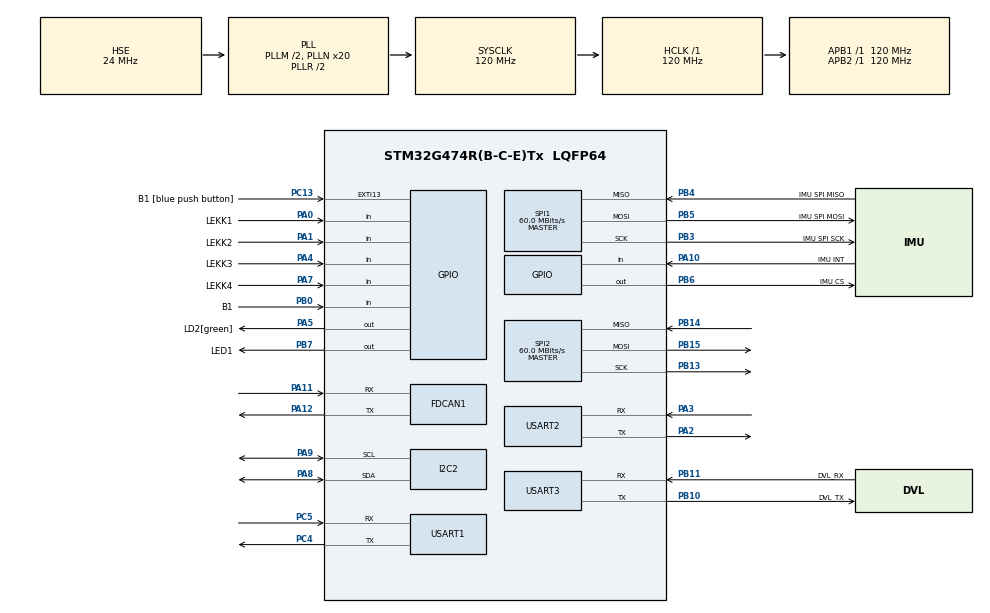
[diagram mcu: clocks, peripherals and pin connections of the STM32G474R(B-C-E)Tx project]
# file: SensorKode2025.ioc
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Dma.Request0=USART2_RX
Dma.USART2_RX.0.Direction=DMA_PERIPH_TO_MEMORY
Dma.USART2_RX.0.EventEnable=DISABLE
Dma.USART2_RX.0.Instance=DMA1_Channel1
Dma.USART2_RX.0.MemDataAlignment=DMA_MDATAALIGN_BYTE
Dma.USART2_RX.0.MemInc=DMA_MINC_ENABLE
Dma.USART2_RX.0.Mode=DMA_NORMAL
Dma.USART2_RX.0.PeriphDataAlignment=DMA_PDATAALIGN_BYTE
Dma.USART2_RX.0.PeriphInc=DMA_PINC_DISABLE
Dma.USART2_RX.0.Polarity=HAL_DMAMUX_REQ_GEN_RISING
Dma.USART2_RX.0.Priority=DMA_PRIORITY_LOW
Dma.USART2_RX.0.RequestNumber=1
Dma.USART2_RX.0.SignalID=NONE
Dma.USART2_RX.0.SyncEnable=DISABLE
Dma.USART2_RX.0.SyncPolarity=HAL_DMAMUX_SYNC_NO_EVENT
Dma.USART2_RX.0.SyncRequestNumber=1
Dma.USART2_RX.0.SyncSignalID=NONE
FDCAN1.CalculateBaudRateNominal=500000
FDCAN1.CalculateTimeBitNominal=2000
FDCAN1.CalculateTimeQuantumNominal=50.0
FDCAN1.NominalPrescaler=2
FDCAN1.NominalTimeSeg1=30
FDCAN1.NominalTimeSeg2=9
I2C2.Timing=0x30A175AB
Mcu.Family=STM32G4
Mcu.Name=STM32G474R(B-C-E)Tx
Mcu.Package=LQFP64
NVIC.DMA1_Channel1_IRQn=true\:0\:0\:false\:false\:true\:false\:true\:true
NVIC.EXTI15_10_IRQn=true\:0\:0\:false\:false\:true\:true\:true\:true
NVIC.FDCAN1_IT0_IRQn=true\:0\:0\:false\:false\:true\:true\:true\:true
NVIC.PriorityGroup=NVIC_PRIORITYGROUP_4
NVIC.USART2_IRQn=true\:0\:0\:false\:false\:true\:true\:true\:true
PA0.GPIO_Label=LEKK1
PA0.Signal=GPIO_Input
PA1.GPIO_Label=LEKK2
PA1.Signal=GPIO_Input
PA10.GPIO_Label=IMU INT
PA10.Signal=GPIO_Input
PA11.Mode=FDCAN_Activate
PA11.Signal=FDCAN1_RX
PA12.Mode=FDCAN_Activate
PA12.Signal=FDCAN1_TX
PA13.GPIO_Label=T_SWDIO
PA13.Mode=Serial_Wire
PA13.Signal=SYS_JTMS-SWDIO
PA14.GPIO_Label=T_SWCLK
PA14.Mode=Serial_Wire
PA14.Signal=SYS_JTCK-SWCLK
PA2.Mode=Asynchronous
PA2.Signal=USART2_TX
PA3.Mode=Asynchronous
PA3.Signal=USART2_RX
PA4.GPIO_Label=LEKK3
PA4.Signal=GPIO_Input
PA5.GPIO_Label=LD2[green]
PA5.Signal=GPIO_Output
PA7.GPIO_Label=LEKK4
PA7.Signal=GPIO_Input
PA8.Mode=I2C
PA8.Signal=I2C2_SDA
PA9.Mode=I2C
PA9.Signal=I2C2_SCL
PB0.GPIO_Label=B1
PB0.Signal=GPIO_Input
PB10.GPIO_Label=DVL_TX
PB10.Mode=Asynchronous
PB10.Signal=USART3_TX
PB11.GPIO_Label=DVL_RX
PB11.Mode=Asynchronous
PB11.Signal=USART3_RX
PB13.Mode=Full_Duplex_Master
PB13.Signal=SPI2_SCK
PB14.Mode=Full_Duplex_Master
PB14.Signal=SPI2_MISO
PB15.Mode=Full_Duplex_Master
PB15.Signal=SPI2_MOSI
PB3.GPIO_Label=IMU SPI SCK
PB3.Mode=Full_Duplex_Master
PB3.Signal=SPI1_SCK
PB4.GPIO_Label=IMU SPI MISO
PB4.Mode=Full_Duplex_Master
PB4.Signal=SPI1_MISO
PB5.GPIO_Label=IMU SPI MOSI
PB5.Mode=Full_Duplex_Master
PB5.Signal=SPI1_MOSI
PB6.GPIO_Label=IMU CS
PB6.Signal=GPIO_Output
PB7.GPIO_Label=LED1
PB7.Signal=GPIO_Output
PC13.GPIO_Label=B1 [blue push button]
PC13.Signal=GPXTI13
PC14-OSC32_IN.GPIO_Label=RCC_OSC32_IN
PC14-OSC32_IN.Mode=LSE-External-Oscillator
PC14-OSC32_IN.Signal=RCC_OSC32_IN
PC15-OSC32_OUT.GPIO_Label=RCC_OSC32_OUT
PC15-OSC32_OUT.Mode=LSE-External-Oscillator
PC15-OSC32_OUT.Signal=RCC_OSC32_OUT
PC4.Mode=Asynchronous
PC4.Signal=USART1_TX
PC5.Mode=Asynchronous
PC5.Signal=USART1_RX
PF0-OSC_IN.GPIO_Label=RCC_OSC_IN
PF0-OSC_IN.Mode=HSE-External-Oscillator
PF0-OSC_IN.Signal=RCC_OSC_IN
PF1-OSC_OUT.GPIO_Label=RCC_OSC_OUT
PF1-OSC_OUT.Mode=HSE-External-Oscillator
PF1-OSC_OUT.Signal=RCC_OSC_OUT
ProjectManager.HeapSize=0x200
ProjectManager.StackSize=0x400
ProjectManager.TargetToolchain=STM32CubeIDE
RCC.ADC12Freq_Value=120000000
RCC.ADC345Freq_Value=120000000
RCC.AHBFreq_Value=120000000
RCC.APB1Freq_Value=120000000
RCC.APB1TimFreq_Value=120000000
RCC.APB2Freq_Value=120000000
RCC.APB2TimFreq_Value=120000000
RCC.CortexFreq_Value=120000000
RCC.EXTERNAL_CLOCK_VALUE=12288000
RCC.EnbaleCSS=true
RCC.FDCANCLockSelection=RCC_FDCANCLKSOURCE_PLL
RCC.HCLKFreq_Value=120000000
RCC.HSE_VALUE=24000000
RCC.HSI48_VALUE=48000000
RCC.HSI_VALUE=16000000
RCC.PLLM=RCC_PLLM_DIV2
RCC.PLLN=20
RCC.PLLQ=RCC_PLLQ_DIV6
RCC.PLLSourceVirtual=RCC_PLLSOURCE_HSE
RCC.RTCClockSelection=RCC_RTCCLKSOURCE_LSE
RCC.SYSCLKFreq_VALUE=120000000
RCC.SYSCLKSource=RCC_SYSCLKSOURCE_PLLCLK
RCC.USBFreq_Value=40000000
RCC.VCOOutputFreq_Value=240000000
SPI1.CalculateBaudRate=60.0 MBits/s
SPI1.Direction=SPI_DIRECTION_2LINES
SPI1.Mode=SPI_MODE_MASTER
SPI1.VirtualType=VM_MASTER
SPI2.BaudRatePrescaler=SPI_BAUDRATEPRESCALER_2
SPI2.CalculateBaudRate=60.0 MBits/s
SPI2.Direction=SPI_DIRECTION_2LINES
SPI2.Mode=SPI_MODE_MASTER
SPI2.VirtualType=VM_MASTER
USART1.VirtualMode-Asynchronous=VM_ASYNC
USART2.VirtualMode-Asynchronous=VM_ASYNC
USART3.VirtualMode-Asynchronous=VM_ASYNC
VP_SYS_VS_DBSignals.Mode=DisableDeadBatterySignals
VP_TIM2_VS_ClockSourceINT.Mode=Internal
board=NUCLEO-G474RE

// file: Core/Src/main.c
/* USER CODE BEGIN Header */
/**
  ******************************************************************************
  * @file           : main.c
  * @brief          : Main program body
  ******************************************************************************
  * @attention
  *
  * Copyright (c) 2025 STMicroelectronics.
  * All rights reserved.
  *
  * This software is licensed under terms that can be found in the LICENSE file
  * in the root directory of this software component.
  * If no LICENSE file comes with this software, it is provided AS-IS.
  *
  ******************************************************************************
  */
/* USER CODE END Header */
#include "main.h"

/* USER CODE BEGIN Includes */
#include <stdbool.h>
#include <stdint.h>
#include <string.h>
#include <stdio.h>
#include <math.h>

#include "stm32g4xx_it.h"
#include "stm32g474xx.h"
#include "stm32g4xx_hal.h"
#include "stm32g4xx_hal_fdcan.h"
#include "stm32g4xx_hal_gpio.h"
#include "stm32g4xx_hal_uart.h"
#include "ICM20948.h"
#include "STTS75.h"
#include "MS5837.h"
#include "orient.h"
#include "gpio_handler.h"
#include "helpers.h"
#include "spi.h"
#include "tim.h"
#include "usart.h"
#include "ICM20948.h"
#include "can_handler.h"
#include "error_handler.h"
#include "i2c.h"
#include "gpio.h"
#include "fdcan.h"
#include "logging.h"
#include "cordic.h"
/* USER CODE END Includes */

//FDCAN_HandleTypeDef hfdcan1;

//I2C_HandleTypeDef hi2c2;

SPI_HandleTypeDef hspi1;
SPI_HandleTypeDef hspi2;

//TIM_HandleTypeDef htim2;

UART_HandleTypeDef huart1;
//UART_HandleTypeDef huart2;
UART_HandleTypeDef huart3;
DMA_HandleTypeDef hdma_usart2_rx;

/* USER CODE BEGIN PV */
ICM20948 imu;
STTS75 temp_sensor = {0};
MS5837 pres_sensor = {0};
bool TB_status;
extern uint8_t init_flags;

struct orientation orient = {0};
MS5837_StatusTypeDef pres_status;
//extern struct tim_2_flags tim_flags;

FDCAN_FilterTypeDef sFilterConfig;
FDCAN_TxHeaderTypeDef TxHeader;
FDCAN_RxHeaderTypeDef RxHeader;
uint8_t TxData[8] = {0x01,0x02,0x03,0x04,0x05,0x06,0x07,0x08};  // CAN-Bus Transmit Buffer
uint8_t RxData[8] = {0, 0, 0, 0, 0, 0, 0, 0};                   // CAN-Bus Receive Buffer
//Disse blir brukt til testing
uint8_t TxData2[8];
uint8_t RxData2[8];

/* USER CODE END PV */

void SystemClock_Config(void);
//static void MX_GPIO_Init(void);
static void MX_DMA_Init(void);
//static void MX_FDCAN1_Init(void);
//static void MX_I2C2_Init(void);
static void MX_SPI2_Init(void);
static void MX_USART1_UART_Init(void);
//static void MX_USART2_UART_Init(void);
static void MX_USART3_UART_Init(void);
//static void MX_TIM2_Init(void);
static void MX_SPI1_Init(void);
/* USER CODE BEGIN PFP */
//void oppstartCAN(FDCAN_HandleTypeDef *canPort);
//void sendCAN(uint16_t id, FDCAN_HandleTypeDef *canPort);
ICM20948_StatusTypeDef IMU_Init(void);
/* USER CODE END PFP */

int main(void)
{

  /* MCU Configuration--------------------------------------------------------*/

  /* Reset of all peripherals, Initializes the Flash interface and the Systick. */
  HAL_Init();

  /* Configure the system clock */
  SystemClock_Config();

  /* Initialize all configured peripherals */
  MX_GPIO_Init();
  MX_DMA_Init();
  MX_FDCAN1_Init();
  MX_I2C2_Init();
  MX_SPI2_Init();
  MX_USART1_UART_Init();
  MX_USART2_UART_Init();
  MX_USART3_UART_Init();
  MX_TIM2_Init();
  MX_SPI1_Init();
  /* USER CODE BEGIN 2 */
  HAL_GPIO_TogglePin(GPIOB, LED1_Pin);
  //HAL_GPIO_TogglePin(GPIOB, LED1_Pin);
  FDCAN_Init(&hfdcan1);
  ICM20948_StatusTypeDef imu_status = IMU_Init();
  IMU_cal(&imu, 500);
  /* Init temp sensor */
  STTS75_Init(&temp_sensor, &hi2c2, STTS75_12BIT);
  /* Init pres sensor */
  vanntype vanntype = FERSKVANN;
  pres_status = MS5837_Init(&pres_sensor, &hi2c2, &vanntype);
  pres_status = MS5837_Read_PROMS(&pres_sensor);
  MS5837_nullstill_trykk(&pres_sensor);
  STTS75_StatusTypeDef temp_status;
  //CORDIC_Init();
  //IMU_cal(&imu, 1000);

  HAL_TIM_Base_Start_IT(&htim2);
  NVIC_EnableIRQ(TIM2_IRQn);

  //Koden under blir brukt til testing
  HAL_FDCAN_Start(&hfdcan1);
  HAL_FDCAN_ActivateNotification(&hfdcan1, FDCAN_IT_RX_FIFO0_NEW_MESSAGE, 0);
  /* USER CODE END 2 */

  /* Infinite loop */
  /* USER CODE BEGIN WHILE */
  static last_leak_status = 0;
  while (1)
  {
	  //Test av CAN
	  memcpy(TxData2, "Hello", 5);
	  if (strcmp(TxData2, "Hello") == 0) {
		  HAL_GPIO_WritePin(GPIOA, GPIO_PIN_5, )
	  }
	  FDCAN_Send(0x123, &hfdcan1, TxData2);
    /* USER CODE END WHILE */

    /* USER CODE BEGIN 3 */
	  if (tim_flags.topside)
	  {
		  tim_flags.topside = 0;
		  if (temp_status || pres_status) Temp_error_handler(temp_status);
		  FDCAN_Send_Temp_Pres(&temp_sensor, &pres_sensor, TOP_ID_TEMP_PRES);
		  //ICM20948_Read_Data_Poll(&imu);
		  //compute_orientation(&imu, &orient);
		  FDCAN_Send_Orientation_Data(&orient, TOP_ID_ORIENTATION_DATA);

		  Check_Leak_Probes();
		  //if (leak_status && (last_leak_status != leak_status)) Send_Error_Code();
		  if (leak_status) Send_Error_Code();
		  last_leak_status = leak_status;
	  }
	  if (tim_flags.pres_read)
	  	  {
	      tim_flags.pres_read = 0;
	      pres_status = MS5837_Dybde(&pres_sensor);
	      if (pres_status) Pres_error_handler(pres_status);
	  	  }

	  if (tim_flags.temp_read)
	      {
	      HAL_GPIO_TogglePin(GPIOB, LED1_Pin);
	      tim_flags.temp_read = 0;
	      temp_status = STTS75_Read_Temp(&temp_sensor);
	      if (temp_status) Temp_error_handler(temp_status);
	      }
      if (tim_flags.reg_send)
      {
          tim_flags.reg_send = 0;
          imu_status = ICM20948_Read_Data_Poll(&imu);
          compute_orientation(&imu, &orient);
          if (imu_status) IMU_error_handler(imu_status);
          else FDCAN_Send_Reg(&orient, &pres_sensor);
      }
      if (init_flags)
      {
          __disable_irq();
          if (init_flags & 1) MS5837_nullstill_trykk(&pres_sensor);
          if ((init_flags & (1 << 1)) || (init_flags & (1 << 1))) IMU_cal(&imu, 100);
          if (init_flags & (1 << 2)) vanntype = SALTVANN;
          init_flags = 0;
          __enable_irq();

      }
  }
  /* USER CODE END 3 */
}

void SystemClock_Config(void)
{
  RCC_OscInitTypeDef RCC_OscInitStruct = {0};
  RCC_ClkInitTypeDef RCC_ClkInitStruct = {0};

  /** Configure the main internal regulator output voltage
  */
  HAL_PWREx_ControlVoltageScaling(PWR_REGULATOR_VOLTAGE_SCALE1);

  /** Initializes the RCC Oscillators according to the specified parameters
  * in the RCC_OscInitTypeDef structure.
  */
  RCC_OscInitStruct.OscillatorType = RCC_OSCILLATORTYPE_HSE;
  RCC_OscInitStruct.HSEState = RCC_HSE_ON;
  RCC_OscInitStruct.PLL.PLLState = RCC_PLL_ON;
  RCC_OscInitStruct.PLL.PLLSource = RCC_PLLSOURCE_HSE;
  RCC_OscInitStruct.PLL.PLLM = RCC_PLLM_DIV2;
  RCC_OscInitStruct.PLL.PLLN = 20;
  RCC_OscInitStruct.PLL.PLLP = RCC_PLLP_DIV2;
  RCC_OscInitStruct.PLL.PLLQ = RCC_PLLQ_DIV6;
  RCC_OscInitStruct.PLL.PLLR = RCC_PLLR_DIV2;
  if (HAL_RCC_OscConfig(&RCC_OscInitStruct) != HAL_OK)
  {
    Error_Handler();
  }

  /** Initializes the CPU, AHB and APB buses clocks
  */
  RCC_ClkInitStruct.ClockType = RCC_CLOCKTYPE_HCLK|RCC_CLOCKTYPE_SYSCLK
                              |RCC_CLOCKTYPE_PCLK1|RCC_CLOCKTYPE_PCLK2;
  RCC_ClkInitStruct.SYSCLKSource = RCC_SYSCLKSOURCE_PLLCLK;
  RCC_ClkInitStruct.AHBCLKDivider = RCC_SYSCLK_DIV1;
  RCC_ClkInitStruct.APB1CLKDivider = RCC_HCLK_DIV1;
  RCC_ClkInitStruct.APB2CLKDivider = RCC_HCLK_DIV1;

  if (HAL_RCC_ClockConfig(&RCC_ClkInitStruct, FLASH_LATENCY_3) != HAL_OK)
  {
    Error_Handler();
  }

  /** Enables the Clock Security System
  */
  HAL_RCC_EnableCSS();
}

//Denne kommenteres ut siden den også finnes i dfcan.c
//static void MX_FDCAN1_Init(void)
//{

  /*hfdcan1.Instance = FDCAN1;
  hfdcan1.Init.ClockDivider = FDCAN_CLOCK_DIV1;
  hfdcan1.Init.FrameFormat = FDCAN_FRAME_CLASSIC;
  hfdcan1.Init.Mode = FDCAN_MODE_NORMAL;
  hfdcan1.Init.AutoRetransmission = DISABLE;
  hfdcan1.Init.TransmitPause = DISABLE;
  hfdcan1.Init.ProtocolException = DISABLE;
  hfdcan1.Init.NominalPrescaler = 2;
  hfdcan1.Init.NominalSyncJumpWidth = 1;
  hfdcan1.Init.NominalTimeSeg1 = 30;
  hfdcan1.Init.NominalTimeSeg2 = 9;
  hfdcan1.Init.DataPrescaler = 1;
  hfdcan1.Init.DataSyncJumpWidth = 1;
  hfdcan1.Init.DataTimeSeg1 = 1;
  hfdcan1.Init.DataTimeSeg2 = 1;
  hfdcan1.Init.StdFiltersNbr = 0;
  hfdcan1.Init.ExtFiltersNbr = 0;
  hfdcan1.Init.TxFifoQueueMode = FDCAN_TX_FIFO_OPERATION;
  if (HAL_FDCAN_Init(&hfdcan1) != HAL_OK)
  {
    Error_Handler();
  }*/

//}

//Funksjonen under er definert i i2c.c. Den kommenteres derfor vekk her.
/*static void MX_I2C2_Init(void)
{*/

  /*hi2c2.Instance = I2C2;
  hi2c2.Init.Timing = 0x30A175AB;
  hi2c2.Init.OwnAddress1 = 0;
  hi2c2.Init.AddressingMode = I2C_ADDRESSINGMODE_7BIT;
  hi2c2.Init.DualAddressMode = I2C_DUALADDRESS_DISABLE;
  hi2c2.Init.OwnAddress2 = 0;
  hi2c2.Init.OwnAddress2Masks = I2C_OA2_NOMASK;
  hi2c2.Init.GeneralCallMode = I2C_GENERALCALL_DISABLE;
  hi2c2.Init.NoStretchMode = I2C_NOSTRETCH_DISABLE;
  if (HAL_I2C_Init(&hi2c2) != HAL_OK)
  {
    Error_Handler();
  }*/

  /** Configure Analogue filter
  */
  /*if (HAL_I2CEx_ConfigAnalogFilter(&hi2c2, I2C_ANALOGFILTER_ENABLE) != HAL_OK)
  {
    Error_Handler();
  }*/

  /** Configure Digital filter
  */
  /*if (HAL_I2CEx_ConfigDigitalFilter(&hi2c2, 0) != HAL_OK)
  {
    Error_Handler();
  }*/

//}

static void MX_SPI1_Init(void)
{

  /* SPI1 parameter configuration*/
  hspi1.Instance = SPI1;
  hspi1.Init.Mode = SPI_MODE_MASTER;
  hspi1.Init.Direction = SPI_DIRECTION_2LINES;
  hspi1.Init.DataSize = SPI_DATASIZE_4BIT;
  hspi1.Init.CLKPolarity = SPI_POLARITY_LOW;
  hspi1.Init.CLKPhase = SPI_PHASE_1EDGE;
  hspi1.Init.NSS = SPI_NSS_SOFT;
  hspi1.Init.BaudRatePrescaler = SPI_BAUDRATEPRESCALER_2;
  hspi1.Init.FirstBit = SPI_FIRSTBIT_MSB;
  hspi1.Init.TIMode = SPI_TIMODE_DISABLE;
  hspi1.Init.CRCCalculation = SPI_CRCCALCULATION_DISABLE;
  hspi1.Init.CRCPolynomial = 7;
  hspi1.Init.CRCLength = SPI_CRC_LENGTH_DATASIZE;
  hspi1.Init.NSSPMode = SPI_NSS_PULSE_ENABLE;
  if (HAL_SPI_Init(&hspi1) != HAL_OK)
  {
    Error_Handler();
  }

}

static void MX_SPI2_Init(void)
{

  /* SPI2 parameter configuration*/
  hspi2.Instance = SPI2;
  hspi2.Init.Mode = SPI_MODE_MASTER;
  hspi2.Init.Direction = SPI_DIRECTION_2LINES;
  hspi2.Init.DataSize = SPI_DATASIZE_4BIT;
  hspi2.Init.CLKPolarity = SPI_POLARITY_LOW;
  hspi2.Init.CLKPhase = SPI_PHASE_1EDGE;
  hspi2.Init.NSS = SPI_NSS_SOFT;
  hspi2.Init.BaudRatePrescaler = SPI_BAUDRATEPRESCALER_2;
  hspi2.Init.FirstBit = SPI_FIRSTBIT_MSB;
  hspi2.Init.TIMode = SPI_TIMODE_DISABLE;
  hspi2.Init.CRCCalculation = SPI_CRCCALCULATION_DISABLE;
  hspi2.Init.CRCPolynomial = 7;
  hspi2.Init.CRCLength = SPI_CRC_LENGTH_DATASIZE;
  hspi2.Init.NSSPMode = SPI_NSS_PULSE_ENABLE;
  if (HAL_SPI_Init(&hspi2) != HAL_OK)
  {
    Error_Handler();
  }

}

//Funksjonen under er definert i tim.c. Den er derfor kommentert vekk her
/*static void MX_TIM2_Init(void)
{*/

  TIM_ClockConfigTypeDef sClockSourceConfig = {0};
  TIM_MasterConfigTypeDef sMasterConfig = {0};

  /*htim2.Instance = TIM2;
  htim2.Init.Prescaler = 0;
  htim2.Init.CounterMode = TIM_COUNTERMODE_UP;
  htim2.Init.Period = 4294967295;
  htim2.Init.ClockDivision = TIM_CLOCKDIVISION_DIV1;
  htim2.Init.AutoReloadPreload = TIM_AUTORELOAD_PRELOAD_DISABLE;
  if (HAL_TIM_Base_Init(&htim2) != HAL_OK)
  {
    Error_Handler();
  }
  sClockSourceConfig.ClockSource = TIM_CLOCKSOURCE_INTERNAL;
  if (HAL_TIM_ConfigClockSource(&htim2, &sClockSourceConfig) != HAL_OK)
  {
    Error_Handler();
  }*/
  /*sMasterConfig.MasterOutputTrigger = TIM_TRGO_RESET;
  sMasterConfig.MasterSlaveMode = TIM_MASTERSLAVEMODE_DISABLE;
  if (HAL_TIMEx_MasterConfigSynchronization(&htim2, &sMasterConfig) != HAL_OK)
  {
    Error_Handler();
  }*/

//}

static void MX_USART1_UART_Init(void)
{

  huart1.Instance = USART1;
  huart1.Init.BaudRate = 115200;
  huart1.Init.WordLength = UART_WORDLENGTH_8B;
  huart1.Init.StopBits = UART_STOPBITS_1;
  huart1.Init.Parity = UART_PARITY_NONE;
  huart1.Init.Mode = UART_MODE_TX_RX;
  huart1.Init.HwFlowCtl = UART_HWCONTROL_NONE;
  huart1.Init.OverSampling = UART_OVERSAMPLING_16;
  huart1.Init.OneBitSampling = UART_ONE_BIT_SAMPLE_DISABLE;
  huart1.Init.ClockPrescaler = UART_PRESCALER_DIV1;
  huart1.AdvancedInit.AdvFeatureInit = UART_ADVFEATURE_NO_INIT;
  if (HAL_UART_Init(&huart1) != HAL_OK)
  {
    Error_Handler();
  }
  if (HAL_UARTEx_SetTxFifoThreshold(&huart1, UART_TXFIFO_THRESHOLD_1_8) != HAL_OK)
  {
    Error_Handler();
  }
  if (HAL_UARTEx_SetRxFifoThreshold(&huart1, UART_RXFIFO_THRESHOLD_1_8) != HAL_OK)
  {
    Error_Handler();
  }
  if (HAL_UARTEx_DisableFifoMode(&huart1) != HAL_OK)
  {
    Error_Handler();
  }

}

//Funksjonen under erdefinert i usart.c
/*static void MX_USART2_UART_Init(void)
{*/

  /*huart2.Instance = USART2;
  huart2.Init.BaudRate = 115200;
  huart2.Init.WordLength = UART_WORDLENGTH_8B;
  huart2.Init.StopBits = UART_STOPBITS_1;
  huart2.Init.Parity = UART_PARITY_NONE;
  huart2.Init.Mode = UART_MODE_TX_RX;
  huart2.Init.HwFlowCtl = UART_HWCONTROL_NONE;
  huart2.Init.OverSampling = UART_OVERSAMPLING_16;
  huart2.Init.OneBitSampling = UART_ONE_BIT_SAMPLE_DISABLE;
  huart2.Init.ClockPrescaler = UART_PRESCALER_DIV1;
  huart2.AdvancedInit.AdvFeatureInit = UART_ADVFEATURE_NO_INIT;
  if (HAL_UART_Init(&huart2) != HAL_OK)
  {
    Error_Handler();
  }
  if (HAL_UARTEx_SetTxFifoThreshold(&huart2, UART_TXFIFO_THRESHOLD_1_8) != HAL_OK)
  {
    Error_Handler();
  }
  if (HAL_UARTEx_SetRxFifoThreshold(&huart2, UART_RXFIFO_THRESHOLD_1_8) != HAL_OK)
  {
    Error_Handler();
  }
  if (HAL_UARTEx_DisableFifoMode(&huart2) != HAL_OK)
  {
    Error_Handler();
  }*/

//}

static void MX_USART3_UART_Init(void)
{

  huart3.Instance = USART3;
  huart3.Init.BaudRate = 115200;
  huart3.Init.WordLength = UART_WORDLENGTH_8B;
  huart3.Init.StopBits = UART_STOPBITS_1;
  huart3.Init.Parity = UART_PARITY_NONE;
  huart3.Init.Mode = UART_MODE_TX_RX;
  huart3.Init.HwFlowCtl = UART_HWCONTROL_NONE;
  huart3.Init.OverSampling = UART_OVERSAMPLING_16;
  huart3.Init.OneBitSampling = UART_ONE_BIT_SAMPLE_DISABLE;
  huart3.Init.ClockPrescaler = UART_PRESCALER_DIV1;
  huart3.AdvancedInit.AdvFeatureInit = UART_ADVFEATURE_NO_INIT;
  if (HAL_UART_Init(&huart3) != HAL_OK)
  {
    Error_Handler();
  }
  if (HAL_UARTEx_SetTxFifoThreshold(&huart3, UART_TXFIFO_THRESHOLD_1_8) != HAL_OK)
  {
    Error_Handler();
  }
  if (HAL_UARTEx_SetRxFifoThreshold(&huart3, UART_RXFIFO_THRESHOLD_1_8) != HAL_OK)
  {
    Error_Handler();
  }
  if (HAL_UARTEx_DisableFifoMode(&huart3) != HAL_OK)
  {
    Error_Handler();
  }

}

static void MX_DMA_Init(void)
{

  /* DMA controller clock enable */
  __HAL_RCC_DMAMUX1_CLK_ENABLE();
  __HAL_RCC_DMA1_CLK_ENABLE();

  /* DMA interrupt init */
  /* DMA1_Channel1_IRQn interrupt configuration */
  HAL_NVIC_SetPriority(DMA1_Channel1_IRQn, 0, 0);
  HAL_NVIC_EnableIRQ(DMA1_Channel1_IRQn);

}

/*static void MX_GPIO_Init(void)
{
  GPIO_InitTypeDef GPIO_InitStruct = {0};*/

  /* GPIO Ports Clock Enable */
  /*__HAL_RCC_GPIOC_CLK_ENABLE();
  __HAL_RCC_GPIOF_CLK_ENABLE();
  __HAL_RCC_GPIOA_CLK_ENABLE();
  __HAL_RCC_GPIOB_CLK_ENABLE();*/

  /*Configure GPIO pin Output Level */
  //HAL_GPIO_WritePin(LD2_GPIO_Port, LD2_Pin, GPIO_PIN_RESET);

  /*Configure GPIO pin Output Level */
 // HAL_GPIO_WritePin(GPIOB, IMU_CS_Pin|LED1_Pin, GPIO_PIN_RESET);

  /*Configure GPIO pin : B1_Pin */
  /*GPIO_InitStruct.Pin = B1_Pin;
  GPIO_InitStruct.Mode = GPIO_MODE_IT_RISING;
  GPIO_InitStruct.Pull = GPIO_NOPULL;
  HAL_GPIO_Init(B1_GPIO_Port, &GPIO_InitStruct);*/

  /*Configure GPIO pins : LEKK1_Pin LEKK2_Pin LEKK3_Pin LEKK4_Pin
                           IMU_INT_Pin */
  /*GPIO_InitStruct.Pin = LEKK1_Pin|LEKK2_Pin|LEKK3_Pin|LEKK4_Pin
                          |IMU_INT_Pin;
  GPIO_InitStruct.Mode = GPIO_MODE_INPUT;
  GPIO_InitStruct.Pull = GPIO_NOPULL;
  HAL_GPIO_Init(GPIOA, &GPIO_InitStruct);*/

  /*Configure GPIO pin : LD2_Pin */
  /*GPIO_InitStruct.Pin = LD2_Pin;
  GPIO_InitStruct.Mode = GPIO_MODE_OUTPUT_PP;
  GPIO_InitStruct.Pull = GPIO_NOPULL;
  GPIO_InitStruct.Speed = GPIO_SPEED_FREQ_LOW;
  HAL_GPIO_Init(LD2_GPIO_Port, &GPIO_InitStruct);*/

  /*Configure GPIO pin : B1B0_Pin */
  /*GPIO_InitStruct.Pin = B1B0_Pin;
  GPIO_InitStruct.Mode = GPIO_MODE_INPUT;
  GPIO_InitStruct.Pull = GPIO_NOPULL;
  HAL_GPIO_Init(B1B0_GPIO_Port, &GPIO_InitStruct);*/

  /*Configure GPIO pins : IMU_CS_Pin LED1_Pin */
  /*GPIO_InitStruct.Pin = IMU_CS_Pin|LED1_Pin;
  GPIO_InitStruct.Mode = GPIO_MODE_OUTPUT_PP;
  GPIO_InitStruct.Pull = GPIO_NOPULL;
  GPIO_InitStruct.Speed = GPIO_SPEED_FREQ_LOW;
  HAL_GPIO_Init(GPIOB, &GPIO_InitStruct);*/

  /* EXTI interrupt init*/
 /* HAL_NVIC_SetPriority(EXTI15_10_IRQn, 0, 0);
  HAL_NVIC_EnableIRQ(EXTI15_10_IRQn);*/

//}

/* USER CODE BEGIN 4 */
ICM20948_StatusTypeDef IMU_Init()
{
    HAL_GPIO_WritePin(IMU_CS_GPIO_Port, IMU_CS_Pin, GPIO_PIN_SET);
    delay_ms(100);
    ICM20948_InitTypeDef cfg = {0};
    cfg.clk_src = ICM20948_AUTO_SEL_CLK;

    /* Accel settings */
    cfg.accel_enable = true;
    cfg.accel_scale = ICM20948_2g;
    cfg.accel_lpf_enable = true;
    cfg.accel_break_freq = 196;

    /* Gyro settings */
    cfg.gyro_enable = true;
    cfg.gyro_scale = ICM20948_250dps;
    cfg.gyro_lpf_enable = true;
    cfg.gyro_break_freq = 20;

    /* Mag setteings TODO: */
    cfg.mag_enable = false;

    return ICM20948_Init(&imu, &hspi3, IMU_CS_Pin, IMU_CS_GPIO_Port, &cfg);
}
/* USER CODE END 4 */

void Error_Handler(void)
{
  __disable_irq();
  while (1)
  {
  }
}
